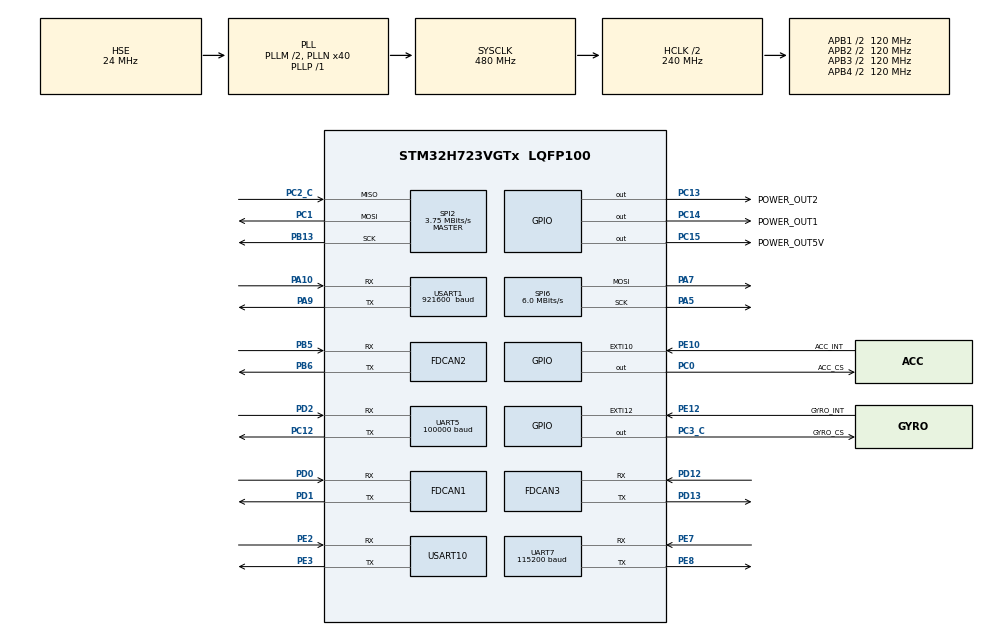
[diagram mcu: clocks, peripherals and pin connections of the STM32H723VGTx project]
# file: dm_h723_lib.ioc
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CORTEX_M7.CPU_ICache=Enabled
CORTEX_M7.default_mode_Activation=0
Dma.Request0=UART5_RX
Dma.Request1=SPI2_RX
Dma.Request2=SPI2_TX
Dma.Request3=UART7_RX
Dma.Request4=UART7_TX
Dma.SPI2_RX.1.Direction=DMA_PERIPH_TO_MEMORY
Dma.SPI2_RX.1.EventEnable=DISABLE
Dma.SPI2_RX.1.FIFOMode=DMA_FIFOMODE_DISABLE
Dma.SPI2_RX.1.Instance=DMA1_Stream0
Dma.SPI2_RX.1.MemDataAlignment=DMA_MDATAALIGN_BYTE
Dma.SPI2_RX.1.MemInc=DMA_MINC_ENABLE
Dma.SPI2_RX.1.Mode=DMA_NORMAL
Dma.SPI2_RX.1.PeriphDataAlignment=DMA_PDATAALIGN_BYTE
Dma.SPI2_RX.1.PeriphInc=DMA_PINC_DISABLE
Dma.SPI2_RX.1.Polarity=HAL_DMAMUX_REQ_GEN_RISING
Dma.SPI2_RX.1.Priority=DMA_PRIORITY_VERY_HIGH
Dma.SPI2_RX.1.RequestNumber=1
Dma.SPI2_RX.1.SignalID=NONE
Dma.SPI2_RX.1.SyncEnable=DISABLE
Dma.SPI2_RX.1.SyncPolarity=HAL_DMAMUX_SYNC_NO_EVENT
Dma.SPI2_RX.1.SyncRequestNumber=1
Dma.SPI2_RX.1.SyncSignalID=NONE
Dma.SPI2_TX.2.Direction=DMA_MEMORY_TO_PERIPH
Dma.SPI2_TX.2.EventEnable=DISABLE
Dma.SPI2_TX.2.FIFOMode=DMA_FIFOMODE_DISABLE
Dma.SPI2_TX.2.Instance=DMA1_Stream1
Dma.SPI2_TX.2.MemDataAlignment=DMA_MDATAALIGN_BYTE
Dma.SPI2_TX.2.MemInc=DMA_MINC_ENABLE
Dma.SPI2_TX.2.Mode=DMA_NORMAL
Dma.SPI2_TX.2.PeriphDataAlignment=DMA_PDATAALIGN_BYTE
Dma.SPI2_TX.2.PeriphInc=DMA_PINC_DISABLE
Dma.SPI2_TX.2.Polarity=HAL_DMAMUX_REQ_GEN_RISING
Dma.SPI2_TX.2.Priority=DMA_PRIORITY_HIGH
Dma.SPI2_TX.2.RequestNumber=1
Dma.SPI2_TX.2.SignalID=NONE
Dma.SPI2_TX.2.SyncEnable=DISABLE
Dma.SPI2_TX.2.SyncPolarity=HAL_DMAMUX_SYNC_NO_EVENT
Dma.SPI2_TX.2.SyncRequestNumber=1
Dma.SPI2_TX.2.SyncSignalID=NONE
Dma.UART5_RX.0.Direction=DMA_PERIPH_TO_MEMORY
Dma.UART5_RX.0.EventEnable=DISABLE
Dma.UART5_RX.0.FIFOMode=DMA_FIFOMODE_DISABLE
Dma.UART5_RX.0.Instance=DMA1_Stream2
Dma.UART5_RX.0.MemDataAlignment=DMA_MDATAALIGN_BYTE
Dma.UART5_RX.0.MemInc=DMA_MINC_ENABLE
Dma.UART5_RX.0.Mode=DMA_NORMAL
Dma.UART5_RX.0.PeriphDataAlignment=DMA_PDATAALIGN_BYTE
Dma.UART5_RX.0.PeriphInc=DMA_PINC_DISABLE
Dma.UART5_RX.0.Polarity=HAL_DMAMUX_REQ_GEN_RISING
Dma.UART5_RX.0.Priority=DMA_PRIORITY_VERY_HIGH
Dma.UART5_RX.0.RequestNumber=1
Dma.UART5_RX.0.SignalID=NONE
Dma.UART5_RX.0.SyncEnable=DISABLE
Dma.UART5_RX.0.SyncPolarity=HAL_DMAMUX_SYNC_NO_EVENT
Dma.UART5_RX.0.SyncRequestNumber=1
Dma.UART5_RX.0.SyncSignalID=NONE
Dma.UART7_RX.3.Direction=DMA_PERIPH_TO_MEMORY
Dma.UART7_RX.3.EventEnable=DISABLE
Dma.UART7_RX.3.FIFOMode=DMA_FIFOMODE_DISABLE
Dma.UART7_RX.3.Instance=DMA1_Stream3
Dma.UART7_RX.3.MemDataAlignment=DMA_MDATAALIGN_BYTE
Dma.UART7_RX.3.MemInc=DMA_MINC_ENABLE
Dma.UART7_RX.3.Mode=DMA_NORMAL
Dma.UART7_RX.3.PeriphDataAlignment=DMA_PDATAALIGN_BYTE
Dma.UART7_RX.3.PeriphInc=DMA_PINC_DISABLE
Dma.UART7_RX.3.Polarity=HAL_DMAMUX_REQ_GEN_RISING
Dma.UART7_RX.3.Priority=DMA_PRIORITY_VERY_HIGH
Dma.UART7_RX.3.RequestNumber=1
Dma.UART7_RX.3.SignalID=NONE
Dma.UART7_RX.3.SyncEnable=DISABLE
Dma.UART7_RX.3.SyncPolarity=HAL_DMAMUX_SYNC_NO_EVENT
Dma.UART7_RX.3.SyncRequestNumber=1
Dma.UART7_RX.3.SyncSignalID=NONE
Dma.UART7_TX.4.Direction=DMA_MEMORY_TO_PERIPH
Dma.UART7_TX.4.EventEnable=DISABLE
Dma.UART7_TX.4.FIFOMode=DMA_FIFOMODE_DISABLE
Dma.UART7_TX.4.Instance=DMA1_Stream4
Dma.UART7_TX.4.MemDataAlignment=DMA_MDATAALIGN_BYTE
Dma.UART7_TX.4.MemInc=DMA_MINC_ENABLE
Dma.UART7_TX.4.Mode=DMA_NORMAL
Dma.UART7_TX.4.PeriphDataAlignment=DMA_PDATAALIGN_BYTE
Dma.UART7_TX.4.PeriphInc=DMA_PINC_DISABLE
Dma.UART7_TX.4.Polarity=HAL_DMAMUX_REQ_GEN_RISING
Dma.UART7_TX.4.Priority=DMA_PRIORITY_VERY_HIGH
Dma.UART7_TX.4.RequestNumber=1
Dma.UART7_TX.4.SignalID=NONE
Dma.UART7_TX.4.SyncEnable=DISABLE
Dma.UART7_TX.4.SyncPolarity=HAL_DMAMUX_SYNC_NO_EVENT
Dma.UART7_TX.4.SyncRequestNumber=1
Dma.UART7_TX.4.SyncSignalID=NONE
FDCAN1.CalculateBaudRateNominal=1000000
FDCAN1.CalculateTimeBitNominal=1000
FDCAN1.CalculateTimeQuantumNominal=25.0
FDCAN1.DataPrescaler=3
FDCAN1.DataSyncJumpWidth=10
FDCAN1.DataTimeSeg1=29
FDCAN1.DataTimeSeg2=10
FDCAN1.NominalPrescaler=3
FDCAN1.NominalSyncJumpWidth=10
FDCAN1.NominalTimeSeg1=29
FDCAN1.NominalTimeSeg2=10
FDCAN1.RxFifo0ElmtsNbr=32
FDCAN1.StdFiltersNbr=1
FDCAN1.TxFifoQueueElmtsNbr=32
FDCAN2.CalculateBaudRateNominal=1000000
FDCAN2.CalculateTimeBitNominal=1000
FDCAN2.CalculateTimeQuantumNominal=25.0
FDCAN2.DataPrescaler=3
FDCAN2.DataSyncJumpWidth=10
FDCAN2.DataTimeSeg1=29
FDCAN2.DataTimeSeg2=10
FDCAN2.MessageRAMOffset=852
FDCAN2.NominalPrescaler=3
FDCAN2.NominalSyncJumpWidth=10
FDCAN2.NominalTimeSeg1=29
FDCAN2.NominalTimeSeg2=10
FDCAN2.RxFifo0ElmtsNbr=32
FDCAN2.StdFiltersNbr=1
FDCAN2.TxFifoQueueElmtsNbr=32
FDCAN3.CalculateBaudRateNominal=1000000
FDCAN3.CalculateTimeBitNominal=1000
FDCAN3.CalculateTimeQuantumNominal=25.0
FDCAN3.DataPrescaler=3
FDCAN3.DataSyncJumpWidth=10
FDCAN3.DataTimeSeg1=29
FDCAN3.DataTimeSeg2=10
FDCAN3.MessageRAMOffset=1704
FDCAN3.NominalPrescaler=3
FDCAN3.NominalSyncJumpWidth=10
FDCAN3.NominalTimeSeg1=29
FDCAN3.NominalTimeSeg2=10
FDCAN3.RxFifo0ElmtsNbr=32
FDCAN3.StdFiltersNbr=1
FDCAN3.TxFifoQueueElmtsNbr=32
FREERTOS.Tasks01=defaultTask,0,128,StartDefaultTask,Default,NULL,Dynamic,NULL,NULL;debug_uart,-3,1024,DEBUG_UART_TASK,As weak,NULL,Dynamic,NULL,NULL;led,-3,128,LED_TASK,As weak,NULL,Dynamic,NULL,NULL;get_rc,-3,256,GET_RC_TASK,As weak,NULL,Dynamic,NULL,NULL;imu_data,-3,1024,IMU_DATA_GET,As weak,NULL,Dynamic,NULL,NULL;can_sent,-3,256,CAN_SENT_TASK,As weak,NULL,Dynamic,NULL,NULL;shoot_task,-3,128,SHOOT_TASK,As weak,NULL,Dynamic,NULL,NULL;stop_check,-3,128,SHOOOT_STOP_CHECK,As weak,NULL,Dynamic,NULL,NULL;chassis_task,-3,1024,CHASSIS_TASK,As weak,NULL,Dynamic,NULL,NULL;error_check,-3,256,ERROR_DETECTION,As weak,NULL,Dynamic,NULL,NULL;board_communica,-3,256,BOARD_COMMUNICATION_TASK,As weak,NULL,Dynamic,NULL,NULL;follow_arm_com,-3,512,follow_arm_compute_TASK,As weak,NULL,Dynamic,NULL,NULL
FREERTOS.configTOTAL_HEAP_SIZE=30000
FREERTOS.configUSE_NEWLIB_REENTRANT=1
Mcu.Family=STM32H7
Mcu.Name=STM32H723VGTx
Mcu.Package=LQFP100
NVIC.DMA1_Stream0_IRQn=true\:5\:0\:false\:false\:true\:true\:false\:true\:true
NVIC.DMA1_Stream1_IRQn=true\:5\:0\:false\:false\:true\:true\:false\:true\:true
NVIC.DMA1_Stream2_IRQn=true\:5\:0\:false\:false\:true\:true\:false\:true\:true
NVIC.DMA1_Stream3_IRQn=true\:5\:0\:false\:false\:true\:true\:false\:true\:true
NVIC.DMA1_Stream4_IRQn=true\:5\:0\:false\:false\:true\:true\:false\:true\:true
NVIC.FDCAN1_IT0_IRQn=true\:5\:0\:false\:false\:true\:true\:true\:true\:true
NVIC.FDCAN2_IT0_IRQn=true\:5\:0\:false\:false\:true\:true\:true\:true\:true
NVIC.FDCAN3_IT0_IRQn=true\:5\:0\:false\:false\:true\:true\:true\:true\:true
NVIC.PriorityGroup=NVIC_PRIORITYGROUP_4
NVIC.SPI2_IRQn=true\:5\:0\:false\:false\:true\:true\:true\:true\:true
NVIC.TIM7_IRQn=true\:15\:0\:false\:false\:true\:false\:false\:true\:true
NVIC.TimeBase=TIM7_IRQn
NVIC.TimeBaseIP=TIM7
NVIC.UART5_IRQn=true\:5\:0\:false\:false\:true\:true\:true\:true\:true
NVIC.UART7_IRQn=true\:5\:0\:false\:false\:true\:true\:true\:true\:true
NVIC.USART10_IRQn=true\:5\:0\:false\:false\:true\:true\:true\:true\:true
NVIC.USART1_IRQn=true\:5\:0\:false\:false\:true\:true\:true\:true\:true
PA10.Mode=Asynchronous
PA10.Signal=USART1_RX
PA13(JTMS/SWDIO).Mode=Serial_Wire
PA13(JTMS/SWDIO).Signal=DEBUG_JTMS-SWDIO
PA14(JTCK/SWCLK).Mode=Serial_Wire
PA14(JTCK/SWCLK).Signal=DEBUG_JTCK-SWCLK
PA5.Mode=TX_Only_Simplex_Unidirect_Master
PA5.Signal=SPI6_SCK
PA7.Mode=TX_Only_Simplex_Unidirect_Master
PA7.Signal=SPI6_MOSI
PA9.Mode=Asynchronous
PA9.Signal=USART1_TX
PB13.Mode=Full_Duplex_Master
PB13.Signal=SPI2_SCK
PB5.Mode=FDCAN_Activate
PB5.Signal=FDCAN2_RX
PB6.Mode=FDCAN_Activate
PB6.Signal=FDCAN2_TX
PC0.GPIO_Label=ACC_CS
PC0.GPIO_Speed=GPIO_SPEED_FREQ_VERY_HIGH
PC0.PinState=GPIO_PIN_SET
PC0.Signal=GPIO_Output
PC1.Mode=Full_Duplex_Master
PC1.Signal=SPI2_MOSI
PC12.Mode=Asynchronous
PC12.Signal=UART5_TX
PC13.GPIO_Label=POWER_OUT2
PC13.PinState=GPIO_PIN_SET
PC13.Signal=GPIO_Output
PC14-OSC32_IN.GPIO_Label=POWER_OUT1
PC14-OSC32_IN.PinState=GPIO_PIN_SET
PC14-OSC32_IN.Signal=GPIO_Output
PC15-OSC32_OUT.GPIO_Label=POWER_OUT5V
PC15-OSC32_OUT.PinState=GPIO_PIN_SET
PC15-OSC32_OUT.Signal=GPIO_Output
PC2_C.Mode=Full_Duplex_Master
PC2_C.Signal=SPI2_MISO
PC3_C.GPIO_Label=GYRO_CS
PC3_C.GPIO_Speed=GPIO_SPEED_FREQ_VERY_HIGH
PC3_C.PinState=GPIO_PIN_SET
PC3_C.Signal=GPIO_Output
PD0.Mode=FDCAN_Activate
PD0.Signal=FDCAN1_RX
PD1.Mode=FDCAN_Activate
PD1.Signal=FDCAN1_TX
PD12.Mode=FDCAN_Activate
PD12.Signal=FDCAN3_RX
PD13.Mode=FDCAN_Activate
PD13.Signal=FDCAN3_TX
PD2.Mode=Asynchronous
PD2.Signal=UART5_RX
PE10.GPIO_Label=ACC_INT
PE10.Signal=GPXTI10
PE12.GPIO_Label=GYRO_INT
PE12.Signal=GPXTI12
PE2.Mode=Asynchronous
PE2.Signal=USART10_RX
PE3.Mode=Asynchronous
PE3.Signal=USART10_TX
PE7.Mode=Asynchronous
PE7.Signal=UART7_RX
PE8.Mode=Asynchronous
PE8.Signal=UART7_TX
PH0-OSC_IN.Mode=HSE-External-Oscillator
PH0-OSC_IN.Signal=RCC_OSC_IN
PH1-OSC_OUT.Mode=HSE-External-Oscillator
PH1-OSC_OUT.Signal=RCC_OSC_OUT
ProjectManager.HeapSize=0x200
ProjectManager.StackSize=0x400
ProjectManager.TargetToolchain=STM32CubeIDE
RCC.ADCFreq_Value=96000000
RCC.APB1Freq_Value=120000000
RCC.APB2Freq_Value=120000000
RCC.APB3Freq_Value=120000000
RCC.APB4Freq_Value=120000000
RCC.CortexFreq_Value=480000000
RCC.D1PPRE=RCC_APB3_DIV2
RCC.D2PPRE1=RCC_APB1_DIV2
RCC.D2PPRE2=RCC_APB2_DIV2
RCC.D3PPRE=RCC_APB4_DIV2
RCC.DIVM1=2
RCC.DIVM2=2
RCC.DIVN1=40
RCC.DIVN2=16
RCC.DIVP1=1
RCC.DIVQ1=4
RCC.HCLKFreq_Value=240000000
RCC.HPRE=RCC_HCLK_DIV2
RCC.HSE_VALUE=24000000
RCC.PLL2FRACN=0
RCC.PLL3FRACN=0
RCC.PLLFRACN=0
RCC.PLLSourceVirtual=RCC_PLLSOURCE_HSE
RCC.SPI6CLockSelection=RCC_SPI6CLKSOURCE_HSE
RCC.SYSCLKFreq_VALUE=480000000
RCC.SYSCLKSource=RCC_SYSCLKSOURCE_PLLCLK
RCC.USBFreq_Value=120000000
SPI2.BaudRatePrescaler=SPI_BAUDRATEPRESCALER_32
SPI2.CLKPhase=SPI_PHASE_2EDGE
SPI2.CLKPolarity=SPI_POLARITY_HIGH
SPI2.CalculateBaudRate=3.75 MBits/s
SPI2.DataSize=SPI_DATASIZE_8BIT
SPI2.Direction=SPI_DIRECTION_2LINES
SPI2.Mode=SPI_MODE_MASTER
SPI2.VirtualType=VM_MASTER
SPI6.BaudRatePrescaler=SPI_BAUDRATEPRESCALER_4
SPI6.CLKPhase=SPI_PHASE_2EDGE
SPI6.CalculateBaudRate=6.0 MBits/s
SPI6.DataSize=SPI_DATASIZE_8BIT
SPI6.Direction=SPI_DIRECTION_2LINES_TXONLY
SPI6.Mode=SPI_MODE_MASTER
SPI6.VirtualType=VM_MASTER
UART5.BaudRate=100000
UART5.Mode=MODE_TX_RX
UART5.Parity=PARITY_EVEN
UART5.StopBits=UART_STOPBITS_2
UART5.WordLength=WORDLENGTH_9B
UART7.BaudRate=115200
USART1.BaudRate=921600 
USART1.VirtualMode-Asynchronous=VM_ASYNC
USART10.VirtualMode=VM_ASYNC
VP_FREERTOS_VS_CMSIS_V1.Mode=CMSIS_V1
VP_MEMORYMAP_VS_MEMORYMAP.Mode=CurAppReg
VP_SYS_VS_tim7.Mode=TIM7
board=custom

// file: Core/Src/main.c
/* USER CODE BEGIN Header */
/**
  ******************************************************************************
  * @file           : main.c
  * @brief          : Main program body
  ******************************************************************************
  * @attention
  *
  * Copyright (c) 2026 STMicroelectronics.
  * All rights reserved.
  *
  * This software is licensed under terms that can be found in the LICENSE file
  * in the root directory of this software component.
  * If no LICENSE file comes with this software, it is provided AS-IS.
  *
  ******************************************************************************
  */
/* USER CODE END Header */
#include "main.h"
#include "cmsis_os.h"
#include "dma.h"
#include "fdcan.h"
#include "memorymap.h"
#include "spi.h"
#include "usart.h"
#include "gpio.h"

/* USER CODE BEGIN Includes */
#include "ws2812.h"
#include "uart_printf.h"
#include "remote_control.h"
#include "BMI088driver.h"
#include "bsp_can.h"
#include "dm_motor.h"
/* USER CODE END Includes */

/* USER CODE BEGIN PV */
float gyro[3], accel[3], temp;
float INS_quat[4] = {1.0f, 0.0f, 0.0f, 0.0f};
float INS_angle[3] = {0.0f, 0.0f, 0.0f};
float INS_degree[3] = {0.0f, 0.0f, 0.0f};

int16_t CHASSIS_3508_ID1_GIVEN_CURRENT = 0;
int16_t CHASSIS_3508_ID2_GIVEN_CURRENT = 0;
int16_t CHASSIS_3508_ID3_GIVEN_CURRENT = 0;
int16_t CHASSIS_3508_ID4_GIVEN_CURRENT = 0;
int16_t CHASSIS_3508_ID5_GIVEN_CURRENT = 0;
int16_t CHASSIS_3508_ID6_GIVEN_CURRENT = 0;

float CHASSIS_3508_ID1_GIVEN_SPEED = 0;
float CHASSIS_3508_ID2_GIVEN_SPEED = 0;
float CHASSIS_3508_ID3_GIVEN_SPEED = 0;
float CHASSIS_3508_ID4_GIVEN_SPEED = 0;
float CHASSIS_3508_ID5_GIVEN_SPEED = 0;
float CHASSIS_3508_ID6_GIVEN_SPEED = 0;

float chassis_wheel_vx = 0.0f;
float chassis_wheel_vy = 0.0f;
float chassis_wheel_vround = 0.0f;
float chassis_track_vx = 0.0f;
float chassis_track_vround = 0.0f;

uint32_t time ;

uint8_t motor2_init_state = INIT_INCOMPLETE;
int16_t motor2_last_ecd ;
int16_t MOTOR2_LAPS ;
float MOTOR2_ABSCISSA ;
int16_t motor2_power_up_ecd ;

uint8_t motor3_init_state = INIT_INCOMPLETE;
int16_t motor3_last_ecd ;
int16_t MOTOR3_LAPS ;
float MOTOR3_ABSCISSA ;
int16_t motor3_power_up_ecd ;

uint8_t motor4_init_state = INIT_INCOMPLETE;
int16_t motor4_last_ecd ;
int16_t MOTOR4_LAPS ;
float MOTOR4_ABSCISSA ;
int16_t motor4_power_up_ecd ;

uint8_t motor5_init_state = INIT_INCOMPLETE;
int16_t motor5_last_ecd ;
int16_t MOTOR5_LAPS ;
float MOTOR5_ABSCISSA ;
int16_t motor5_power_up_ecd ;

uint8_t motor6_init_state = INIT_INCOMPLETE;
int16_t motor6_last_ecd ;
int16_t MOTOR6_LAPS ;
float MOTOR6_ABSCISSA ;
int16_t motor6_power_up_ecd ;

uint8_t motor7_init_state = INIT_INCOMPLETE;
int16_t motor7_last_ecd ;
int16_t MOTOR7_LAPS ;
float MOTOR7_ABSCISSA ;
int16_t motor7_power_up_ecd ;

/* USER CODE END PV */

void SystemClock_Config(void);
void MX_FREERTOS_Init(void);

int main(void)
{

  /* Enable the CPU Cache */

  /* Enable I-Cache---------------------------------------------------------*/
  SCB_EnableICache();

  /* MCU Configuration--------------------------------------------------------*/

  /* Reset of all peripherals, Initializes the Flash interface and the Systick. */
  HAL_Init();

  /* Configure the system clock */
  SystemClock_Config();

  /* Initialize all configured peripherals */
  MX_GPIO_Init();
  MX_DMA_Init();
  MX_SPI6_Init();
  MX_USART1_UART_Init();
  MX_UART5_Init();
  MX_SPI2_Init();
  MX_FDCAN1_Init();
  MX_FDCAN2_Init();
  MX_FDCAN3_Init();
  MX_UART7_Init();
  MX_USART10_UART_Init();
  /* USER CODE BEGIN 2 */

    while(BMI088_init());

    //about remote control
#if REMOTE_TYPE == SBUS
    HAL_UARTEx_ReceiveToIdle_DMA(&huart5, rx_subs_buff, SBUS_BUFF_SIZE * 2);
#endif

#if REMOTE_TYPE == DBUS
    HAL_UARTEx_ReceiveToIdle_DMA(&huart5, rx_dbus_buff, DBUS_BUFF_SIZE);
#endif

    HAL_UARTEx_ReceiveToIdle_DMA(&huart7, rx_VTM_buff, VTM_ALL_BUFF_SIZE);

    BSP_FDCAN_Init();

  /* USER CODE END 2 */

  /* Call init function for freertos objects (in cmsis_os2.c) */
  MX_FREERTOS_Init();

  /* Start scheduler */
  osKernelStart();

  /* We should never get here as control is now taken by the scheduler */

  /* Infinite loop */
  while (1)
  {

  }
}

void SystemClock_Config(void)
{
  RCC_OscInitTypeDef RCC_OscInitStruct = {0};
  RCC_ClkInitTypeDef RCC_ClkInitStruct = {0};

  /** Supply configuration update enable
  */
  HAL_PWREx_ConfigSupply(PWR_LDO_SUPPLY);

  /** Configure the main internal regulator output voltage
  */
  __HAL_PWR_VOLTAGESCALING_CONFIG(PWR_REGULATOR_VOLTAGE_SCALE0);

  while(!__HAL_PWR_GET_FLAG(PWR_FLAG_VOSRDY)) {}

  /** Initializes the RCC Oscillators according to the specified parameters
  * in the RCC_OscInitTypeDef structure.
  */
  RCC_OscInitStruct.OscillatorType = RCC_OSCILLATORTYPE_HSE;
  RCC_OscInitStruct.HSEState = RCC_HSE_ON;
  RCC_OscInitStruct.PLL.PLLState = RCC_PLL_ON;
  RCC_OscInitStruct.PLL.PLLSource = RCC_PLLSOURCE_HSE;
  RCC_OscInitStruct.PLL.PLLM = 2;
  RCC_OscInitStruct.PLL.PLLN = 40;
  RCC_OscInitStruct.PLL.PLLP = 1;
  RCC_OscInitStruct.PLL.PLLQ = 4;
  RCC_OscInitStruct.PLL.PLLR = 2;
  RCC_OscInitStruct.PLL.PLLRGE = RCC_PLL1VCIRANGE_3;
  RCC_OscInitStruct.PLL.PLLVCOSEL = RCC_PLL1VCOWIDE;
  RCC_OscInitStruct.PLL.PLLFRACN = 0;
  if (HAL_RCC_OscConfig(&RCC_OscInitStruct) != HAL_OK)
  {
    Error_Handler();
  }

  /** Initializes the CPU, AHB and APB buses clocks
  */
  RCC_ClkInitStruct.ClockType = RCC_CLOCKTYPE_HCLK|RCC_CLOCKTYPE_SYSCLK
                              |RCC_CLOCKTYPE_PCLK1|RCC_CLOCKTYPE_PCLK2
                              |RCC_CLOCKTYPE_D3PCLK1|RCC_CLOCKTYPE_D1PCLK1;
  RCC_ClkInitStruct.SYSCLKSource = RCC_SYSCLKSOURCE_PLLCLK;
  RCC_ClkInitStruct.SYSCLKDivider = RCC_SYSCLK_DIV1;
  RCC_ClkInitStruct.AHBCLKDivider = RCC_HCLK_DIV2;
  RCC_ClkInitStruct.APB3CLKDivider = RCC_APB3_DIV2;
  RCC_ClkInitStruct.APB1CLKDivider = RCC_APB1_DIV2;
  RCC_ClkInitStruct.APB2CLKDivider = RCC_APB2_DIV2;
  RCC_ClkInitStruct.APB4CLKDivider = RCC_APB4_DIV2;

  if (HAL_RCC_ClockConfig(&RCC_ClkInitStruct, FLASH_LATENCY_3) != HAL_OK)
  {
    Error_Handler();
  }
}

void HAL_TIM_PeriodElapsedCallback(TIM_HandleTypeDef *htim)
{
  if (htim->Instance == TIM7) {
    HAL_IncTick();
  }
}

void Error_Handler(void)
{
  __disable_irq();
  while (1)
  {
  }
}

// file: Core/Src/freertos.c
/* USER CODE BEGIN Header */
/**
  ******************************************************************************
  * File Name          : freertos.c
  * Description        : Code for freertos applications
  ******************************************************************************
  * @attention
  *
  * Copyright (c) 2026 STMicroelectronics.
  * All rights reserved.
  *
  * This software is licensed under terms that can be found in the LICENSE file
  * in the root directory of this software component.
  * If no LICENSE file comes with this software, it is provided AS-IS.
  *
  ******************************************************************************
  */
/* USER CODE END Header */

#include "FreeRTOS.h"
#include "task.h"
#include "main.h"
#include "cmsis_os.h"

osThreadId defaultTaskHandle;
osThreadId debug_uartHandle;
osThreadId ledHandle;
osThreadId get_rcHandle;
osThreadId imu_dataHandle;
osThreadId can_sentHandle;
osThreadId shoot_taskHandle;
osThreadId stop_checkHandle;
osThreadId chassis_taskHandle;
osThreadId error_checkHandle;
osThreadId board_communicaHandle;
osThreadId follow_arm_comHandle;

void StartDefaultTask(void const * argument);
void DEBUG_UART_TASK(void const * argument);
void LED_TASK(void const * argument);
void GET_RC_TASK(void const * argument);
void IMU_DATA_GET(void const * argument);
void CAN_SENT_TASK(void const * argument);
void SHOOT_TASK(void const * argument);
void SHOOOT_STOP_CHECK(void const * argument);
void CHASSIS_TASK(void const * argument);
void ERROR_DETECTION(void const * argument);
void BOARD_COMMUNICATION_TASK(void const * argument);
void follow_arm_compute_TASK(void const * argument);

void MX_FREERTOS_Init(void); /* (MISRA C 2004 rule 8.1) */

/* GetIdleTaskMemory prototype (linked to static allocation support) */
void vApplicationGetIdleTaskMemory( StaticTask_t **ppxIdleTaskTCBBuffer, StackType_t **ppxIdleTaskStackBuffer, uint32_t *pulIdleTaskStackSize );

/* USER CODE BEGIN GET_IDLE_TASK_MEMORY */
static StaticTask_t xIdleTaskTCBBuffer;
static StackType_t xIdleStack[configMINIMAL_STACK_SIZE];

void vApplicationGetIdleTaskMemory( StaticTask_t **ppxIdleTaskTCBBuffer, StackType_t **ppxIdleTaskStackBuffer, uint32_t *pulIdleTaskStackSize )
{
  *ppxIdleTaskTCBBuffer = &xIdleTaskTCBBuffer;
  *ppxIdleTaskStackBuffer = &xIdleStack[0];
  *pulIdleTaskStackSize = configMINIMAL_STACK_SIZE;
  /* place for user code */
}
/* USER CODE END GET_IDLE_TASK_MEMORY */

void MX_FREERTOS_Init(void) {

  /* Create the thread(s) */
  /* definition and creation of defaultTask */
  osThreadDef(defaultTask, StartDefaultTask, osPriorityNormal, 0, 128);
  defaultTaskHandle = osThreadCreate(osThread(defaultTask), NULL);

  /* definition and creation of debug_uart */
  osThreadDef(debug_uart, DEBUG_UART_TASK, osPriorityIdle, 0, 1024);
  debug_uartHandle = osThreadCreate(osThread(debug_uart), NULL);

  /* definition and creation of led */
  osThreadDef(led, LED_TASK, osPriorityIdle, 0, 128);
  ledHandle = osThreadCreate(osThread(led), NULL);

  /* definition and creation of get_rc */
  osThreadDef(get_rc, GET_RC_TASK, osPriorityIdle, 0, 256);
  get_rcHandle = osThreadCreate(osThread(get_rc), NULL);

  /* definition and creation of imu_data */
  osThreadDef(imu_data, IMU_DATA_GET, osPriorityIdle, 0, 1024);
  imu_dataHandle = osThreadCreate(osThread(imu_data), NULL);

  /* definition and creation of can_sent */
  osThreadDef(can_sent, CAN_SENT_TASK, osPriorityIdle, 0, 256);
  can_sentHandle = osThreadCreate(osThread(can_sent), NULL);

  /* definition and creation of shoot_task */
  osThreadDef(shoot_task, SHOOT_TASK, osPriorityIdle, 0, 128);
  shoot_taskHandle = osThreadCreate(osThread(shoot_task), NULL);

  /* definition and creation of stop_check */
  osThreadDef(stop_check, SHOOOT_STOP_CHECK, osPriorityIdle, 0, 128);
  stop_checkHandle = osThreadCreate(osThread(stop_check), NULL);

  /* definition and creation of chassis_task */
  osThreadDef(chassis_task, CHASSIS_TASK, osPriorityIdle, 0, 1024);
  chassis_taskHandle = osThreadCreate(osThread(chassis_task), NULL);

  /* definition and creation of error_check */
  osThreadDef(error_check, ERROR_DETECTION, osPriorityIdle, 0, 256);
  error_checkHandle = osThreadCreate(osThread(error_check), NULL);

  /* definition and creation of board_communica */
  osThreadDef(board_communica, BOARD_COMMUNICATION_TASK, osPriorityIdle, 0, 256);
  board_communicaHandle = osThreadCreate(osThread(board_communica), NULL);

  /* definition and creation of follow_arm_com */
  osThreadDef(follow_arm_com, follow_arm_compute_TASK, osPriorityIdle, 0, 512);
  follow_arm_comHandle = osThreadCreate(osThread(follow_arm_com), NULL);

}

void StartDefaultTask(void const * argument)
{
  for(;;)
  {
    osDelay(1);
  }
}

__weak void DEBUG_UART_TASK(void const * argument)
{
  for(;;)
  {
    osDelay(1);
  }
}

__weak void LED_TASK(void const * argument)
{
  for(;;)
  {
    osDelay(1);
  }
}

__weak void GET_RC_TASK(void const * argument)
{
  for(;;)
  {
    osDelay(1);
  }
}

__weak void IMU_DATA_GET(void const * argument)
{
  for(;;)
  {
    osDelay(1);
  }
}

__weak void CAN_SENT_TASK(void const * argument)
{
  for(;;)
  {
    osDelay(1);
  }
}

__weak void SHOOT_TASK(void const * argument)
{
  for(;;)
  {
    osDelay(1);
  }
}

__weak void SHOOOT_STOP_CHECK(void const * argument)
{
  for(;;)
  {
    osDelay(1);
  }
}

__weak void CHASSIS_TASK(void const * argument)
{
  for(;;)
  {
    osDelay(1);
  }
}

__weak void ERROR_DETECTION(void const * argument)
{
  for(;;)
  {
    osDelay(1);
  }
}

__weak void BOARD_COMMUNICATION_TASK(void const * argument)
{
  for(;;)
  {
    osDelay(1);
  }
}

__weak void follow_arm_compute_TASK(void const * argument)
{
  for(;;)
  {
    osDelay(1);
  }
}
